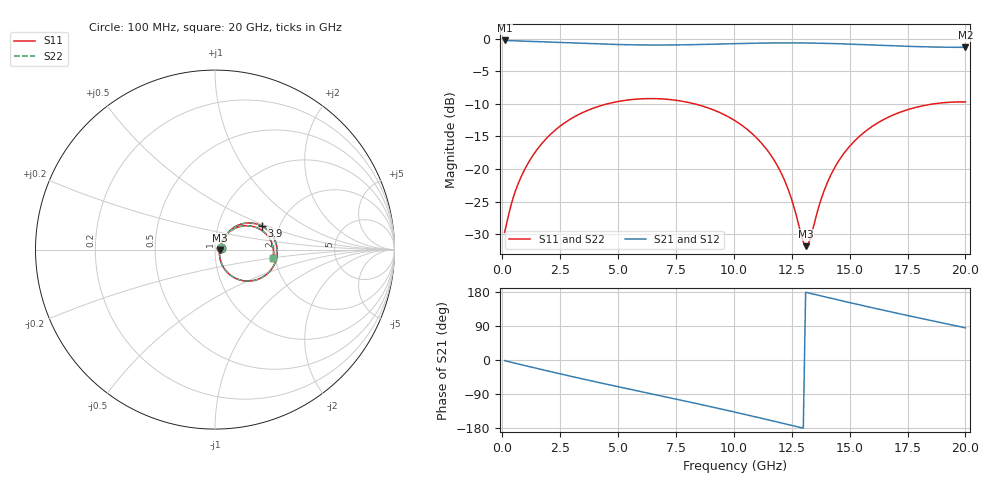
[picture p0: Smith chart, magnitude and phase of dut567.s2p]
! Touchstone file exported from HFSS 2026.1.0
!  File:  C:/ffzhzh/LocalFiles/Ansys_Project_Files/temp_train_TSV_RDL_567_1783117431_50312.aedt
!  Generated:  06:33:06 AM Jul  4, 2026
!  Design:  TSV_RDL
!  Project:  temp_train_TSV_RDL_567_1783117431_50312
! Variables:
!  h_bsmrdl = 2.96um
!  h_ox = 20um
!  h_rdl = 5um
!  h_sub = 57.46um
!  h_tmrdl = 3.21um
!  h_tsv = 57.46um
!  h_via = 3um
!  l_bsmrdl = 713.65um
!  l_sub = 4871.32um
!  l_tmrdl = 553.62um
!  m_sub = 200um
!  pitch = 28.86um
!  r_tsv = 3.16um
!  s_tmrdl = 10um
!  w_bsmrdl = 18.64um
!  w_sub = 500um
!  w_tmrdl = 19.99um
!  x_tsv_center1 = 563.615um
!  x_tsv_center2 = 1295.905um
!  x_tsv_center3 = 1869.515um
!  x_tsv_center4 = 2601.805um
!  x_tsv_center5 = 3175.415um
!  x_tsv_center6 = 3907.705um
# GHz S MA R 50.000000
! Terminal data exported
! Port[1] = TM_RDL1_1_T1
! Port[2] = TM_RDL5_1_T1
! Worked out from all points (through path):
!   200 points, 100 MHz to 20 GHz, reference 50 ohm
!   highest |S21| = -0.27 dB at 100 MHz (marker M1); lowest = -1.3 dB at 20 GHz (marker M2)
!   group delay of S21, straight-line fit = 38.2 ps
!   lowest |S11| = -31.8 dB at 13.1 GHz (marker M3), VSWR 1.05, Z = 52.6 - j0.516 ohm
!   |S11| at or under -10 dB: start of sweep to 4.533 GHz; 8.31 GHz to 18.62 GHz (10.31 GHz wide, 76.6 % of centre)
!   |S22| runs from -31.6 to -9.2 dB; largest |S21 - S12| = 5e-14
!   S11 on the Smith chart (normalised r, x): 100 MHz: 1.06, +0.02; 3.9 GHz: 1.62, +0.47; 20 GHz: 1.95, -0.20
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0.1  0.03273 19.1  0.9693 -1.6  0.9693 -1.6  0.03273 19.1
! Gamma 0 0 0 0
! Port Impedance 50 0 50 0
0.6  0.07047 49.1  0.9612 -9.2  0.9612 -9.2  0.07047 49.1
1.3  0.1255 52.2  0.953 -19.4  0.953 -19.4  0.1255 52.2
2.3  0.2001 44.8  0.9395 -33.7  0.9395 -33.7  0.2001 44.8
3.5  0.2728 31.4  0.9211 -50.4  0.9211 -50.4  0.2728 31.5
3.9  0.2918 26.7  0.9153 -55.8  0.9153 -55.8  0.2918 26.7
5.3  0.3364 9.9  0.8996 -74.4  0.8996 -74.4  0.3365 9.9
6.8  0.346 -8.3  0.8941 -94.0  0.8941 -94.0  0.3461 -8.3
8.5  0.3097 -29.0  0.902 -116.4  0.902 -116.4  0.3098 -28.9
10.1  0.232 -48.2  0.9168 -138.3  0.9168 -138.3  0.2321 -48.1
11.1  0.165 -59.1  0.9249 -152.4  0.9249 -152.4  0.1651 -58.9
11.9  0.1045 -64.9  0.9286 -163.9  0.9286 -163.9  0.1047 -64.6
12.4  0.06579 -63.1  0.9291 -171.1  0.9291 -171.1  0.06606 -62.6
13.1  0.02563 -11.0  0.9273 178.7  0.9273 178.7  0.02631 -10.9
13.2  0.02619 6.0  0.9267 177.3  0.9267 177.3  0.02685 5.7
13.4  0.03401 31.6  0.9256 174.4  0.9256 174.4  0.03453 30.9
13.9  0.0683 51.4  0.9216 167.2  0.9216 167.2  0.06857 50.9
14.6  0.1207 51.6  0.9139 157.2  0.9139 157.2  0.1209 51.3
15.5  0.1832 43.8  0.9017 144.5  0.9017 144.5  0.1833 43.6
16.7  0.2513 30.5  0.8843 128.1  0.8843 128.1  0.2514 30.4
18.3  0.3093 11.9  0.8659 107.0  0.8659 107.0  0.3095 11.8
20  0.3272 -7.9  0.8582 85.0  0.8582 85.0  0.3274 -8.0
